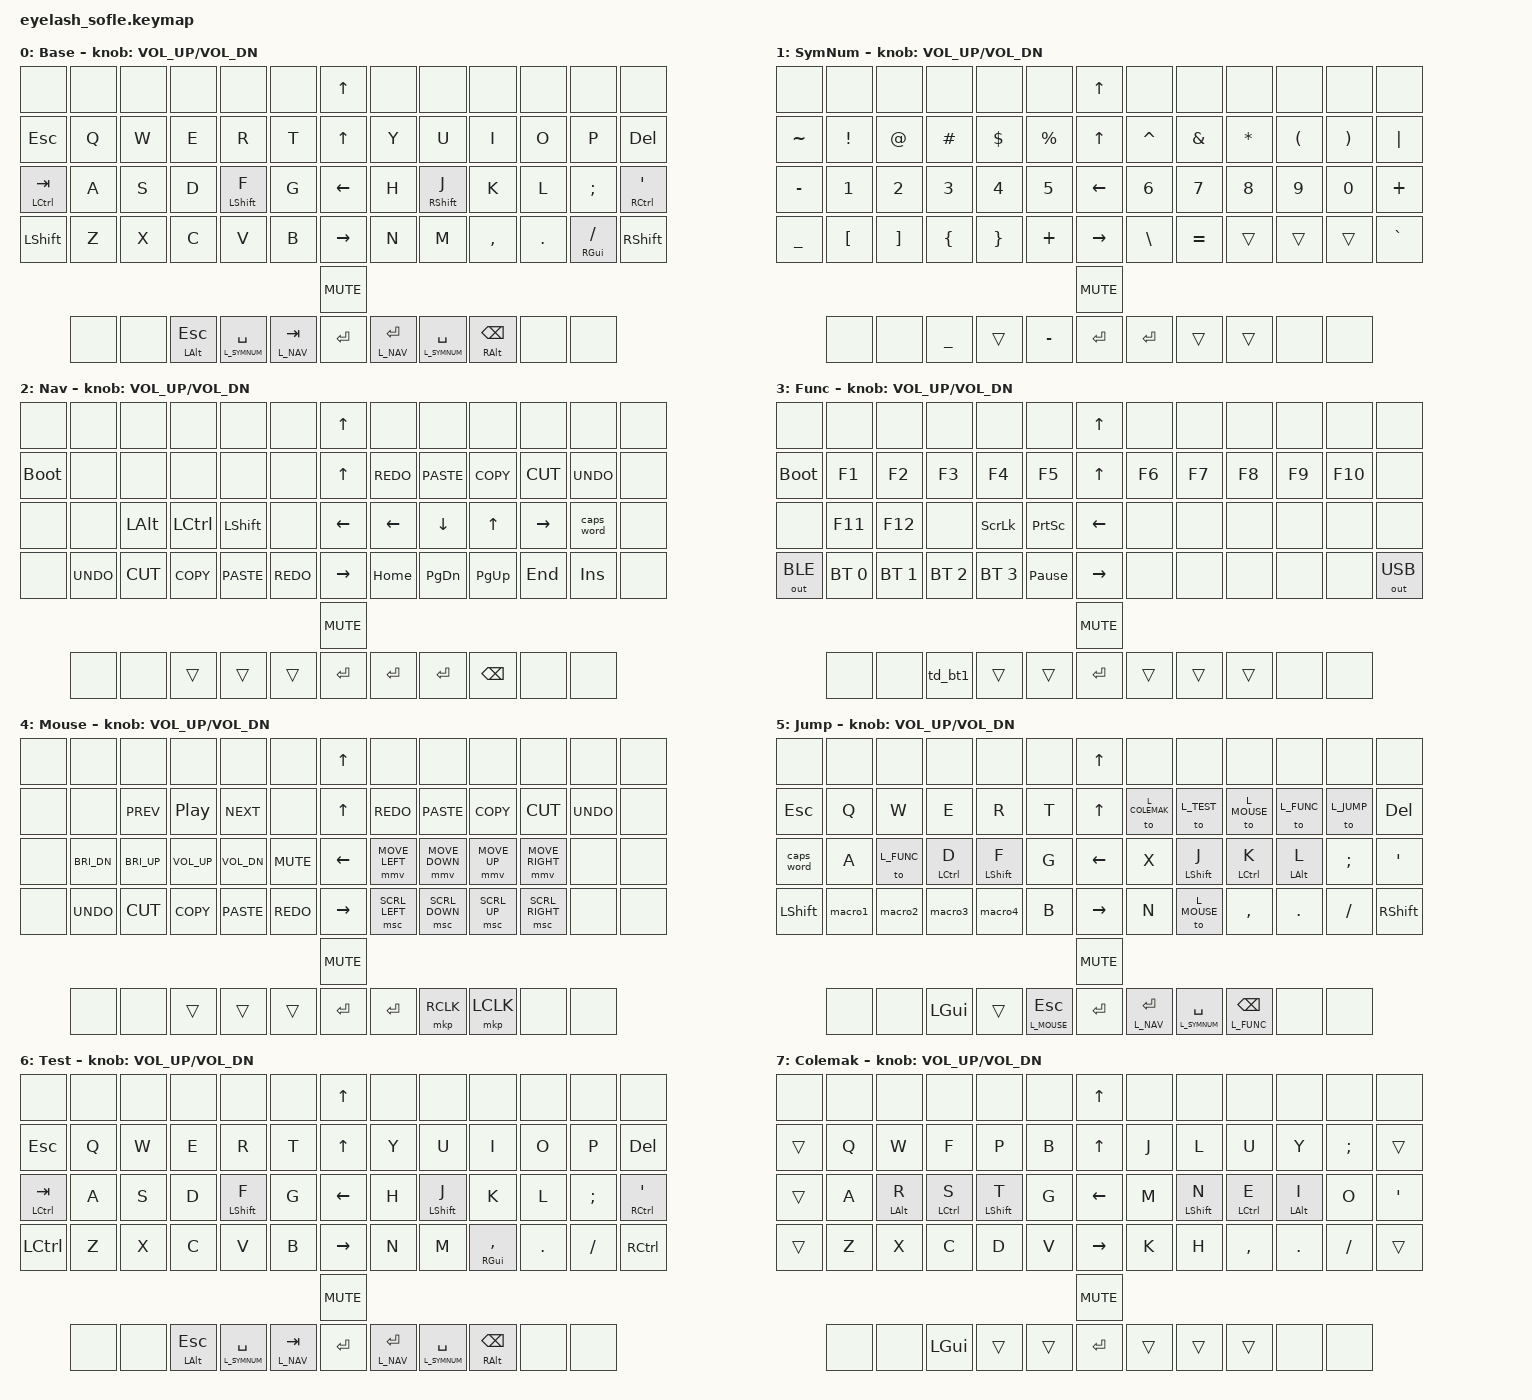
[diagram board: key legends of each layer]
#define ZMK_POINTING_DEFAULT_MOVE_VAL 1200  // 600
#define ZMK_POINTING_DEFAULT_SCRL_VAL 25   // 10

#define L_BASE         0
#define L_SYMNUM       1
#define L_NAV          2
#define L_FUNC         3
#define L_MOUSE        4 
#define L_JUMP         5 
#define L_TEST         6
#define L_COLEMAK      7


// TODO: convert left ctrl and alt to right versions, where appropriate
// TODO maybe move the numbers to bottom row?
// idea: add 'one handed mode' layers. e.g. for arrow keys.

#include <input/processors.dtsi>
#include <zephyr/dt-bindings/input/input-event-codes.h>
#include <behaviors.dtsi>
#include <dt-bindings/zmk/bt.h>
#include <dt-bindings/zmk/keys.h>
#include <dt-bindings/zmk/outputs.h>
#include <dt-bindings/zmk/pointing.h>
#include <dt-bindings/zmk/rgb.h>

&mmv_input_listener { input-processors = <&zip_xy_scaler 2 1>; };
&msc_input_listener { input-processors = <&zip_scroll_scaler 2 1>; };
&msc {
    acceleration-exponent = <1>;      // 0
    time-to-max-speed-ms = <100>;       // 300
    delay-ms = <0>;                   // 0
};
&mmv {
    time-to-max-speed-ms = <500>;
    acceleration-exponent = <1>;
    trigger-period-ms = <16>;
};
&soft_off { hold-time-ms = <2000>; };

/ {
    scroll_encoder: scroll_encoder {
        compatible = "zmk,behavior-sensor-rotate";
        #sensor-binding-cells = <0>;
        bindings = <&msc SCRL_DOWN>, <&msc SCRL_UP>;
        tap-ms = <100>;
    };
    behaviors {
         // test tap dance. prints 1 or 2 or 3
         td1: td1 {
            compatible = "zmk,behavior-tap-dance";
            #binding-cells = <0>;
            tapping-term-ms = <200>;
            bindings = <&kp N1>, <&kp N2>, <&kp N3>;
        };
         // bt selection tap dance. the point is to only trigger if really intentional. 1 press prints a dot or something. only triple click works
         // note: i call it 1 but internally it is zero based
         td_bt1: td_bt1 {
            compatible = "zmk,behavior-tap-dance";
            #binding-cells = <0>;
            tapping-term-ms = <200>;
            bindings = <&kp DOT>, <&kp DOT>, <&bt BT_SEL 0>;
        };
    };




    combos {
        compatible = "zmk,combos";

        softoff {
            bindings = <&soft_off>;
            key-positions = <14 28 40>;
        };


        combo_asdl_to_jump {
            timeout-ms = <50>;
            key-positions = <27 28 29 36>;
            bindings = <&to L_JUMP>;
        };


        combo_wer_capsword {
            timeout-ms = <50>;
            key-positions = <15 16 17>;
            bindings = <&caps_word>;
        };


        combo_cvb_bootloader {
            timeout-ms = <50>;
            key-positions = <42 43 44>;
            bindings = <&bootloader>;
        };


        combo_yui_to_home {
            timeout-ms = <50>;
            key-positions = <20 21 22>;
            bindings = <&to L_BASE>;
        };


        combo_iop_to_mouse {
            timeout-ms = <50>;
            key-positions = <22 23 24>;
            bindings = <&to L_MOUSE>;
        };


        combo_sticky_alt_a {
            timeout-ms = <50>;
            key-positions = <27 37>;
            bindings = <&sk LALT>;
        };


        combo_sticky_shift_s {
            timeout-ms = <50>;
            key-positions = <28 36>;
            bindings = <&sk LSHIFT>;
        };


        combo_sticky_ctrl_c {
            timeout-ms = <50>;
            key-positions = <42 48>;
            bindings = <&sk LCTRL>;
        };


        combo_sticky_shift {
            timeout-ms = <50>;
            key-positions = <39 51>;
            bindings = <&sk LSHIFT>;
        };


        combo_sticky_sym_y {
            timeout-ms = <50>;
            key-positions = <18 20>;
            bindings = <&sl L_SYMNUM>;
        };


        combo_sticky_func_u {
            timeout-ms = <50>;
            key-positions = <17 21>;
            bindings = <&sl L_FUNC>;
        };

    };



    // but just &kp LC(C) is simpler than macro_copy..
    macros {
        macro1: macro1 {
        compatible = "zmk,behavior-macro";
        #binding-cells = <0>;
        bindings = 
            <&kp H>,
            <&kp E>,
            <&kp L>,
            <&kp L>,
            <&kp O>,
            <&kp SPACE>,
            <&kp T>,
            <&kp H>,
            <&kp E>,
            <&kp R>,
            <&kp E>,
            <&kp EXCL>,
            <&kp SPACE>;
        };
        macro2: macro2 {
        compatible = "zmk,behavior-macro";
        #binding-cells = <0>;
        bindings = 
            <&kp X>,
            <&kp SPACE>;
        };
        macro3: macro3 {
        compatible = "zmk,behavior-macro";
        #binding-cells = <0>;
        bindings = 
            <&kp X>,
            <&kp SPACE>;
        };
        macro4: macro4 {
        compatible = "zmk,behavior-macro";
        #binding-cells = <0>;
        bindings = 
            <&kp V>,
            <&kp N1>,
            <&kp N2>,
            <&kp SPACE>,
            <&kp A>,
            <&kp L>,
            <&kp L>,
            <&kp E>,
            <&kp G>,
            <&kp E>,
            <&kp D>,
            <&kp L>,
            <&kp Y>,
            <&kp SPACE>;
        };
    //    macro_copy: macro_copy {
    //    compatible = "zmk,behavior-macro";
    //    #binding-cells = <0>;
    //    bindings = <&kp LC(C)>;
    //    };
    //    macro_paste: macro_paste {
    //    compatible = "zmk,behavior-macro";
    //    #binding-cells = <0>;
    //    bindings = <&kp LC(V)>;
    //    };
    //    macro_cut: macro_cut {
    //    compatible = "zmk,behavior-macro";
    //    #binding-cells = <0>;
    //    bindings = <&kp LC(X)>;
    //    };
    //    macro_redo: macro_redo {
    //    compatible = "zmk,behavior-macro";
    //    #binding-cells = <0>;
    //    bindings = <&kp LC(Y)>;
    //    };
    //    macro_undo: macro_undo {
    //    compatible = "zmk,behavior-macro";
    //    #binding-cells = <0>;
    //    bindings = <&kp LC(Z)>;
    //    };
    };


    keymap {
        compatible = "zmk,keymap";


// GLOSSARY FOR KEY POSITIONS (todo: fill it in)
//=================================================================================================================================================================================================================
//
// 0       1                  2                3            4                  5                   (6)                         7                  8               9                 10           11             12
// 13      q(14)              w(15)            e(16)        r(17               t(18                (6)                       y(20                 u(0             i(22)            o(23)         p(0)           25
// 26      a                  s                d            f(30)              g(31)               (6)                       h(                  j(34)            k(35             l(36          37             38
// 39      z(40               x(41             c(42         v(43               b(44                (6)                       n(46                m(47             48               49            50             51 
//                                                                                                 (6)
//                                                     53 0           55  56  57                                              58 59 60             0 0
//=================================================================================================================================================================================================================




    // Layer Base
    ///////////////////////////////////
    layer0 {
    bindings = <

       &none  &none &none &none &none &none       &kp UP_ARROW           &none &none &none &none &none &none
            &kp ESC &kp Q &kp W &kp E &kp R &kp T  &kp UP_ARROW      &kp Y &kp U &kp I &kp O &kp P &kp DEL
            &mt LCTRL TAB &kp A &kp S &kp D &mt LSHIFT F &kp G  &kp LEFT_ARROW    &kp H &mt RSHIFT J &kp K &kp L &kp SEMI &mt RCTRL APOS
            &kp LSHIFT &kp Z &kp X &kp C &kp V &kp B  &kp RIGHT_ARROW   &kp N &kp M &kp COMMA &kp DOT &mt RGUI FSLH &kp RSHIFT
                                                  &kp C_MUTE
&none &none     &mt LALT ESC &lt L_SYMNUM SPACE &lt L_NAV TAB  &kp ENTER         &lt L_NAV ENTER &lt L_SYMNUM SPACE &mt RALT BACKSPACE      &none &none

            >; display-name = "Base"; sensor-bindings = <&inc_dec_kp C_VOLUME_UP C_VOL_DN>; };



    // Layer SymNum
    ///////////////////////////////////
    layer1 {
    bindings = <

       &none  &none &none &none &none &none       &kp UP_ARROW           &none &none &none &none &none &none
            &kp TILDE &kp EXCL &kp AT &kp HASH &kp DOLLAR &kp PRCNT  &kp UP_ARROW      &kp CARET &kp AMPS &kp STAR &kp LPAR &kp RPAR &kp PIPE
            &kp MINUS &kp N1 &kp N2 &kp N3 &kp N4 &kp N5  &kp LEFT_ARROW    &kp N6 &kp N7 &kp N8 &kp N9 &kp N0 &kp PLUS
            &kp UNDERSCORE &kp LBKT &kp RBKT &kp LBRC &kp RBRC &kp PLUS  &kp RIGHT_ARROW   &kp BSLH &kp EQUAL &trans &trans &trans &kp GRAVE
                                                  &kp C_MUTE
&none &none     &kp UNDERSCORE &trans &kp MINUS  &kp ENTER         &kp ENTER &trans &trans      &none &none

            >; display-name = "SymNum"; sensor-bindings = <&inc_dec_kp C_VOLUME_UP C_VOL_DN>; };



    // Layer Nav
    ///////////////////////////////////
    layer2 {
    bindings = <

       &none  &none &none &none &none &none       &kp UP_ARROW           &none &none &none &none &none &none
            &bootloader &none &none &none &none &none  &kp UP_ARROW      &kp K_REDO &kp K_PASTE &kp K_COPY &kp K_CUT &kp K_UNDO &none
            &none &none &kp LALT &kp LCTRL &kp LSHIFT &none  &kp LEFT_ARROW    &kp LEFT &kp DOWN &kp UP &kp RIGHT &caps_word &none
            &none &kp K_UNDO &kp K_CUT &kp K_COPY &kp K_PASTE &kp K_REDO  &kp RIGHT_ARROW   &kp HOME &kp PG_DN &kp PG_UP &kp END &kp INS &none
                                                  &kp C_MUTE
&none &none     &trans &trans &trans  &kp ENTER         &kp ENTER &kp ENTER &kp BSPC      &none &none

            >; display-name = "Nav"; sensor-bindings = <&inc_dec_kp C_VOLUME_UP C_VOL_DN>; };



    // Layer Func
    ///////////////////////////////////
    layer3 {
    bindings = <

       &none  &none &none &none &none &none       &kp UP_ARROW           &none &none &none &none &none &none
            &bootloader &kp F1 &kp F2 &kp F3 &kp F4 &kp F5  &kp UP_ARROW      &kp F6 &kp F7 &kp F8 &kp F9 &kp F10 &none
            &none &kp F11 &kp F12 &none &kp SLCK &kp PSCRN  &kp LEFT_ARROW    &none &none &none &none &none &none
            &out OUT_BLE &bt BT_SEL 0 &bt BT_SEL 1 &bt BT_SEL 2 &bt BT_SEL 3 &kp PAUSE_BREAK  &kp RIGHT_ARROW   &none &none &none &none &none &out OUT_USB
                                                  &kp C_MUTE
&none &none     &td_bt1 &trans &trans  &kp ENTER         &trans &trans &trans      &none &none

            >; display-name = "Func"; sensor-bindings = <&inc_dec_kp C_VOLUME_UP C_VOL_DN>; };



    // Layer Mouse
    ///////////////////////////////////
    layer4 {
    bindings = <

       &none  &none &none &none &none &none       &kp UP_ARROW           &none &none &none &none &none &none
            &none &none &kp C_PREV &kp C_PP &kp C_NEXT &none  &kp UP_ARROW      &kp K_REDO &kp K_PASTE &kp K_COPY &kp K_CUT &kp K_UNDO &none
            &none &kp C_BRI_DN &kp C_BRI_UP &kp C_VOL_UP &kp C_VOL_DN &kp C_MUTE  &kp LEFT_ARROW    &mmv MOVE_LEFT &mmv MOVE_DOWN &mmv MOVE_UP &mmv MOVE_RIGHT &none &none
            &none &kp K_UNDO &kp K_CUT &kp K_COPY &kp K_PASTE &kp K_REDO  &kp RIGHT_ARROW   &msc SCRL_LEFT &msc SCRL_DOWN &msc SCRL_UP &msc SCRL_RIGHT &none &none
                                                  &kp C_MUTE
&none &none     &trans &trans &trans  &kp ENTER         &kp ENTER &mkp RCLK &mkp LCLK      &none &none

            >; display-name = "Mouse"; sensor-bindings = <&inc_dec_kp C_VOLUME_UP C_VOL_DN>; };



    // Layer Jump
    ///////////////////////////////////
    layer5 {
    bindings = <

       &none  &none &none &none &none &none       &kp UP_ARROW           &none &none &none &none &none &none
            &kp ESC &kp Q &kp W &kp E &kp R &kp T  &kp UP_ARROW      &to L_COLEMAK &to L_TEST &to L_MOUSE &to L_FUNC &to L_JUMP &kp DEL
            &caps_word &kp A &to L_FUNC &mt LCTRL D &mt LSHIFT F &kp G  &kp LEFT_ARROW    &kp X &mt LSHIFT J &mt LCTRL K &mt LALT L &kp SEMI &kp APOS
            &kp LSHIFT &macro1 &macro2 &macro3 &macro4 &kp B  &kp RIGHT_ARROW   &kp N &to L_MOUSE &kp COMMA &kp DOT &kp FSLH &kp RSHIFT
                                                  &kp C_MUTE
&none &none     &kp LGUI &trans &lt L_MOUSE ESC  &kp ENTER         &lt L_NAV ENTER &lt L_SYMNUM SPACE &lt L_FUNC BACKSPACE      &none &none

            >; display-name = "Jump"; sensor-bindings = <&inc_dec_kp C_VOLUME_UP C_VOL_DN>; };



    // Layer Test
    ///////////////////////////////////
    layer6 {
    bindings = <

       &none  &none &none &none &none &none       &kp UP_ARROW           &none &none &none &none &none &none
            &kp ESC &kp Q &kp W &kp E &kp R &kp T  &kp UP_ARROW      &kp Y &kp U &kp I &kp O &kp P &kp DEL
            &mt LCTRL TAB &kp A &kp S &kp D &mt LSHIFT F &kp G  &kp LEFT_ARROW    &kp H &mt LSHIFT J &kp K &kp L &kp SEMI &mt RCTRL APOS
            &kp LCTRL &kp Z &kp X &kp C &kp V &kp B  &kp RIGHT_ARROW   &kp N &kp M &mt RGUI COMMA &kp DOT &kp FSLH &kp RCTRL
                                                  &kp C_MUTE
&none &none     &mt LALT ESC &lt L_SYMNUM SPACE &lt L_NAV TAB  &kp ENTER         &lt L_NAV ENTER &lt L_SYMNUM SPACE &mt RALT BACKSPACE      &none &none

            >; display-name = "Test"; sensor-bindings = <&inc_dec_kp C_VOLUME_UP C_VOL_DN>; };



    // Layer Colemak
    ///////////////////////////////////
    layer7 {
    bindings = <

       &none  &none &none &none &none &none       &kp UP_ARROW           &none &none &none &none &none &none
            &trans &kp Q &kp W &kp F &kp P &kp B  &kp UP_ARROW      &kp J &kp L &kp U &kp Y &kp SEMI &trans
            &trans &kp A &mt LALT R &mt LCTRL S &mt LSHIFT T &kp G  &kp LEFT_ARROW    &kp M &mt LSHIFT N &mt LCTRL E &mt LALT I &kp O &kp APOS
            &trans &kp Z &kp X &kp C &kp D &kp V  &kp RIGHT_ARROW   &kp K &kp H &kp COMMA &kp DOT &kp FSLH &trans
                                                  &kp C_MUTE
&none &none     &kp LGUI &trans &trans  &kp ENTER         &trans &trans &trans      &none &none

            >; display-name = "Colemak"; sensor-bindings = <&inc_dec_kp C_VOLUME_UP C_VOL_DN>; };



    };
};
